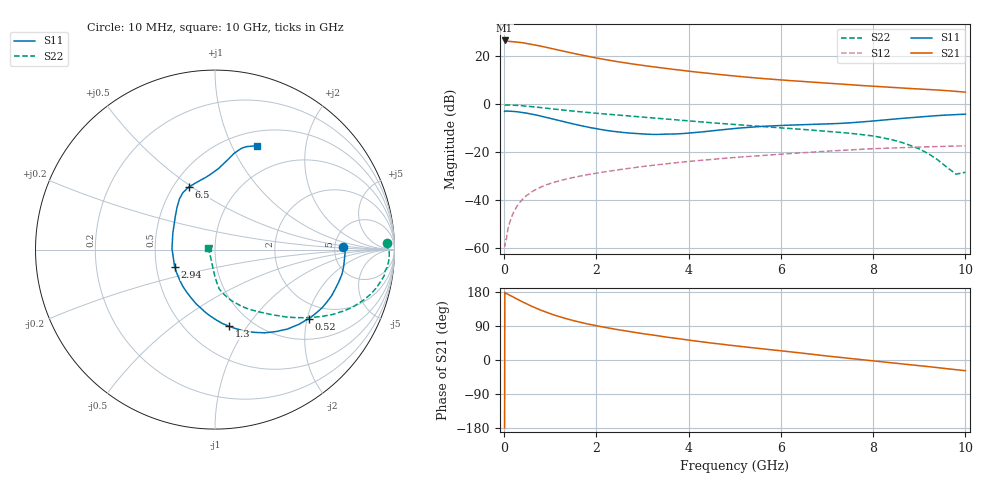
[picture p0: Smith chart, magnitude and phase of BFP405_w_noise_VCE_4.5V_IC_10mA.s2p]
! (c) 2016  Infineon Technologies AG, Munich
! Infineon Technologies  Discrete & RF Semiconductors
! BFP405
! VCE =  4.5 V,  IC =  10 mA
! Common Emitter S-Parameters:  Jan 2016
# GHz  S  MA  R  50
!  f  S11  S21  S12  S22
! GHz  MAG  ANG  MAG  ANG  MAG  ANG  MAG  ANG
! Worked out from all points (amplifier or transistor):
!   233 points, 10 MHz to 10 GHz, reference 50 ohm
!   highest |S21| = 26.7 dB at 10 MHz (marker M1)
!   |S21| within 3 dB of that: start of sweep to 942.6 MHz
!   unconditionally stable (mu >= 1): start of sweep to 37.75 MHz; 2.654 GHz to end of sweep
!   at 200 MHz: K = 0.34, MSG = 35.7 dB, |S12| = -45.2 dB
!   at 1.74 GHz: K = 0.77, MSG = 25.0 dB, |S12| = -29.6 dB
!   at 10 GHz: K = 1.36, MAG = 7.6 dB, |S12| = -17.3 dB
!   lowest NFmin = 1.62 dB at 900 MHz
!   S11 on the Smith chart (normalised r, x): 10 MHz: 5.93, +0.30; 520 MHz: 1.54, -2.04; 1.3 GHz: 0.79, -0.83; 2.94 GHz: 0.62, -0.13; 6.5 GHz: 0.60, +0.48; 10 GHz: 0.66, +1.26
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0.01  0.712 1.0  21.59 -179.2  0.0012 -10.6  0.9595 2.1
0.02  0.7258 -0.7  21.2 176.8  0.0012 41.3  0.9635 0.4
0.05  0.7239 -3.2  20.79 175.7  0.0016 50.1  0.9706 -0.8
0.24  0.7067 -17.3  20.22 163.4  0.0065 73.8  0.9556 -7.1
0.4  0.6787 -28.7  19.36 153.3  0.0105 72.6  0.9363 -11.4
0.52  0.6474 -36.4  18.53 146.2  0.0132 70.9  0.9144 -14.5
0.7  0.5987 -47.7  17.16 136.4  0.017 67.8  0.8775 -18.5
0.86  0.5505 -56.9  15.92 128.4  0.02 65.5  0.8435 -21.5
1.1  0.4845 -69.8  14.16 118.0  0.024 62.6  0.795 -25.4
1.3  0.4343 -79.6  12.8 110.6  0.027 60.9  0.7577 -28.2
1.5  0.3908 -89.3  11.62 104.0  0.0298 59.4  0.7235 -30.5
1.68  0.3574 -97.6  10.69 98.7  0.0323 58.2  0.6963 -32.4
1.92  0.3206 -108.9  9.62 92.3  0.0356 57.0  0.6633 -34.7
2.2  0.2883 -122.1  8.58 85.7  0.0394 55.6  0.6294 -37.1
2.94  0.2437 -156.2  6.637 70.8  0.0496 51.8  0.5511 -43.0
3.4  0.2373 -176.9  5.801 62.7  0.0561 49.1  0.506 -46.6
4  0.2519 158.9  4.933 52.3  0.0645 45.3  0.4524 -51.7
5.1  0.3209 130.7  3.826 36.1  0.0794 37.7  0.3735 -61.4
6.5  0.3779 112.9  2.999 17.5  0.0985 28.1  0.2995 -72.0
6.8  0.3844 107.5  2.858 13.5  0.1027 25.7  0.2842 -74.1
8.4  0.4889 83.5  2.261 -7.4  0.1229 11.8  0.1834 -86.9
10  0.6254 67.8  1.804 -28.2  0.1366 -1.1  0.0383 166.1
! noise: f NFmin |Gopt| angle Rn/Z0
0.9  1.62  0.2  6  0.32
1.8  1.88  0.14  1  0.29
2.4  2  0.12  4  0.31
3  2.03  0.08  20  0.29
4  2.19  0.05  -72  0.28
5  2.56  0.11  -98  0.28
